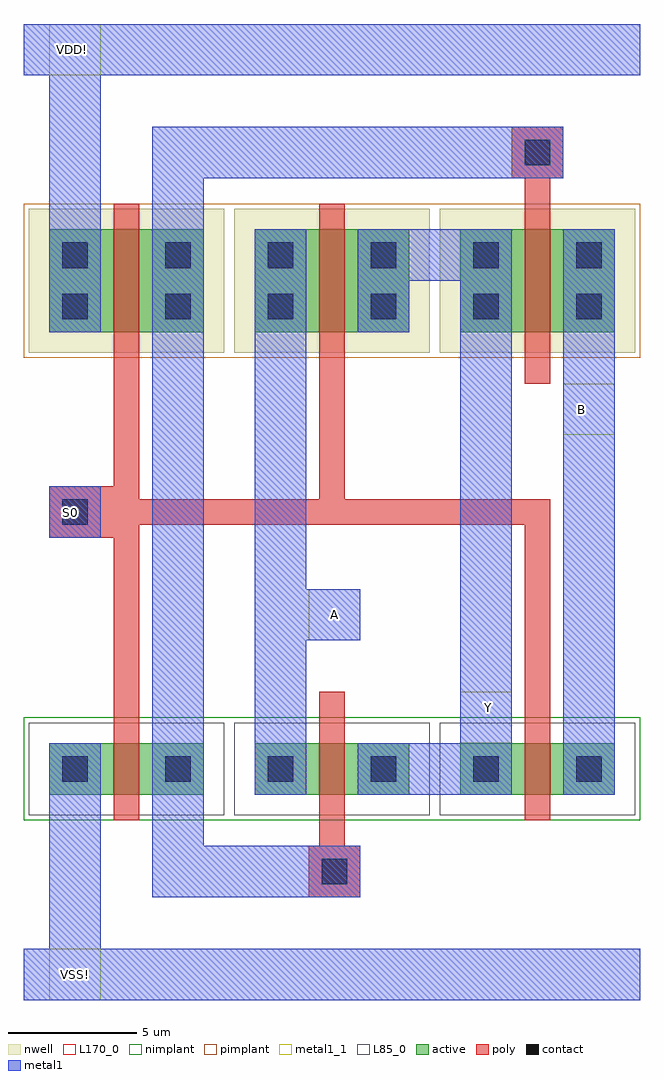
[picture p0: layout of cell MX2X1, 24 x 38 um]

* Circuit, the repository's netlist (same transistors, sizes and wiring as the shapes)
* +++++++++++++++++++++++++++++++++++++++++++++++++++++++++ *
* CDL Netlist:                                              *
*                                                           *
* Cell Name  : MX2X1                                        *
* Netlisted  : Mon Dec 20 07:11:54 2021                     *
* PVS Version: 16.15-s010 Fri Jun 28 22:24:07 PDT 2019      *
* +++++++++++++++++++++++++++++++++++++++++++++++++++++++++ *
*.LDD
*.DEVTMPLT 0 MN(nmos3) _nmos1v _soi_nd(D) poly_conn(G) _soi_nsb(S) _soi_nsb(B)
*.DEVTMPLT 1 MP(pmos3) _pmos1v _soi_pd(D) poly_conn(G) _soi_psb(S) _soi_psb(B)

* +++++++++++++++++++++++++++++++++++++++++++++++++++++++++ *
* Sub cell: nmos3_CDNS_2                                    *
* +++++++++++++++++++++++++++++++++++++++++++++++++++++++++ *
.subckt nmos3_CDNS_2 2 3 4
** N=4 EP=3 FDC=1
M0 3 4 2 2 nmos3 L=1e-06 W=2e-06 AD=5e-12 AS=0 PD=9e-06 PS=0 fw=2e-06 sa=2e-06 sb=2e-06 $X=7000 $Y=2000 $dt=0
.ends nmos3_CDNS_2

* +++++++++++++++++++++++++++++++++++++++++++++++++++++++++ *
* Sub cell: pmos3_CDNS_3                                    *
* +++++++++++++++++++++++++++++++++++++++++++++++++++++++++ *
.subckt pmos3_CDNS_3 2 3 4
** N=5 EP=3 FDC=1
M0 3 4 2 2 pmos3 L=1e-06 W=4e-06 AD=1e-11 AS=0 PD=1.3e-05 PS=0 fw=4e-06 sa=2e-06 sb=2e-06 $X=7000 $Y=2000 $dt=1
.ends pmos3_CDNS_3

* +++++++++++++++++++++++++++++++++++++++++++++++++++++++++ *
* Sub cell: MX2X1                                           *
* +++++++++++++++++++++++++++++++++++++++++++++++++++++++++ *
.subckt MX2X1 A B S0 VDD! VSS! Y
** N=8 EP=6 FDC=6
X3 VSS! 2 S0 nmos3_CDNS_2 $T=16000 12000 1 180 $X=0 $Y=12000
X4 A Y 2 nmos3_CDNS_2 $T=32000 12000 1 180 $X=16000 $Y=12000
X5 B Y S0 nmos3_CDNS_2 $T=32000 12000 0 0 $X=32000 $Y=12000
X6 VDD! 2 S0 pmos3_CDNS_3 $T=16000 60000 0 180 $X=0 $Y=46000
X7 A Y S0 pmos3_CDNS_3 $T=32000 60000 0 180 $X=16000 $Y=46000
X8 B Y 2 pmos3_CDNS_3 $T=32000 60000 1 0 $X=32000 $Y=46000
.ends MX2X1

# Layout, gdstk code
from math import pi, radians
import gdstk
lib = gdstk.Library(unit=1e-6, precision=5e-10)
def R(c, l, rs):  # rectangles x0, y0, x1, y1
    for r in rs: c.add(gdstk.rectangle(r[:2], r[2:], *l))
def A(c, l, x, y, w, h, nx, ny, dx, dy):  # array of equal rectangles
    R(c, l, [(x+i*dx, y+j*dy, x+i*dx+w, y+j*dy+h) for i in range(nx) for j in range(ny)])
active = (1, 0)
nwell = (2, 0)
poly = (3, 0)
nimplant = (4, 0)
pimplant = (5, 0)
contact = (6, 0)
metal1 = (7, 0)
metal1_1 = (7, 1)
L85_0 = (85, 0)
L170_0 = (170, 0)

nmos3_cdns_2 = lib.new_cell('nmos3_CDNS_2')
R(nmos3_cdns_2, active, [(1,1,7,3)])
R(nmos3_cdns_2, poly, [(3.5,0,4.5,5), (3.6,3.5,4.4,3.9)])
R(nmos3_cdns_2, nimplant, [(0,0,8,4)])
R(nmos3_cdns_2, contact, [(1.5,1.5,2.5,2.5), (5.5,1.5,6.5,2.5), (5.5,1.5,6.5,2.5)])
R(nmos3_cdns_2, metal1, [(1,1,3,3), (5,1,7,3), (1.3,1.3,2.7,2.7), (5.3,1.3,6.7,2.7)])
R(nmos3_cdns_2, L85_0, [(0.2,0.2,7.8,3.8)])
R(nmos3_cdns_2, L170_0, [(4.5,1,7,3)])

pmos3_cdns_3 = lib.new_cell('pmos3_CDNS_3')
R(pmos3_cdns_3, active, [(1,1,7,5)])
R(pmos3_cdns_3, nwell, [(0.2,0.2,7.8,5.8)])
R(pmos3_cdns_3, poly, [(3.5,0,4.5,7), (3.6,5.6,4.4,5.9)])
R(pmos3_cdns_3, pimplant, [(0,0,8,6)])
R(pmos3_cdns_3, contact, [(1.5,1.5,2.5,2.5), (5.5,1.5,6.5,2.5), (5.5,1.5,6.5,2.5), (1.5,3.5,2.5,4.5), (5.5,3.5,6.5,4.5)])
R(pmos3_cdns_3, metal1, [(1,1,3,5), (5,1,7,5), (1.3,1.3,2.7,2.7), (5.3,1.3,6.7,2.7)])
R(pmos3_cdns_3, L170_0, [(4.5,1,7,5)])

m1_po_cdns_1 = lib.new_cell('M1_PO_CDNS_1')
R(m1_po_cdns_1, poly, [(-1,-1,1,1)])
R(m1_po_cdns_1, contact, [(-0.5,-0.5,0.5,0.5)])
R(m1_po_cdns_1, metal1, [(-1,-1,1,1)])

mx2x1 = lib.new_cell('MX2X1')
R(mx2x1, poly, [(2.7,17,3.7,19)])
R(mx2x1, metal1, [(9,13,13.1,15), (21,21,23,23)])
A(mx2x1, metal1_1, 1, -1, 2, 2, 1, 3, 0, 18)
R(mx2x1, metal1_1, [(17,9,19,11), (11.1,13,13.1,15), (21,21,23,23)])
mx2x1.add(gdstk.FlexPath([(4,18),(4,24.6)], 1, ends="extended", simple_path=True, layer=3, datatype=0))  # poly
mx2x1.add(gdstk.FlexPath([(20,32),(20,24.1)], 1, ends="flush", simple_path=True, layer=3, datatype=0))  # poly
mx2x1.add(gdstk.FlexPath([(12.1,4),(12,4)], 1, ends=(0, 0.5), simple_path=True, layer=3, datatype=0))  # poly
mx2x1.add(gdstk.FlexPath([(12,4),(12,9.9)], 1, ends=(0.5, 0), simple_path=True, layer=3, datatype=0))  # poly
mx2x1.add(gdstk.FlexPath([(1.9,18),(4,18)], 1, ends="extended", simple_path=True, layer=3, datatype=0))  # poly
mx2x1.add(gdstk.FlexPath([(12,24.4),(12,18)], 1, ends=(0, 0.5), simple_path=True, layer=3, datatype=0))  # poly
mx2x1.add(gdstk.FlexPath([(20,18),(20,9.9)], 1, ends=(0.5, 0), simple_path=True, layer=3, datatype=0))  # poly
mx2x1.add(gdstk.FlexPath([(12,18),(20,18)], 1, ends="extended", simple_path=True, layer=3, datatype=0))  # poly
mx2x1.add(gdstk.FlexPath([(4,9.5),(4,18)], 1, ends=(0, 0.5), simple_path=True, layer=3, datatype=0))  # poly
mx2x1.add(gdstk.FlexPath([(4,24.6),(3.6,24.6)], 1, ends=(0.5, 0), simple_path=True, layer=3, datatype=0))  # poly
mx2x1.add(gdstk.FlexPath([(4,18),(12,18)], 1, ends="extended", simple_path=True, layer=3, datatype=0))  # poly
mx2x1.add(gdstk.FlexPath([(18,28),(18.7,28)], 2, ends=(1, 0), simple_path=True, layer=7, datatype=0))  # metal1
mx2x1.add(gdstk.FlexPath([(18,28),(18,8)], 2, ends="extended", simple_path=True, layer=7, datatype=0))  # metal1
mx2x1.add(gdstk.FlexPath([(22,7.3),(22,28.7)], 2, ends="flush", simple_path=True, layer=7, datatype=0))  # metal1
mx2x1.add(gdstk.FlexPath([(13.3,28),(18,28)], 2, ends=(0, 1), simple_path=True, layer=7, datatype=0))  # metal1
mx2x1.add(gdstk.FlexPath([(13.3,8),(18,8)], 2, ends=(0, 1), simple_path=True, layer=7, datatype=0))  # metal1
mx2x1.add(gdstk.FlexPath([(18,8),(18,7.3)], 2, ends=(1, 0), simple_path=True, layer=7, datatype=0))  # metal1
mx2x1.add(gdstk.FlexPath([(18,8),(18.7,8)], 2, ends=(1, 0), simple_path=True, layer=7, datatype=0))  # metal1
mx2x1.add(gdstk.FlexPath([(6,32),(20,32)], 2, ends=(1, 0), simple_path=True, layer=7, datatype=0))  # metal1
mx2x1.add(gdstk.FlexPath([(6,27.3),(6,32)], 2, ends=(0, 1), simple_path=True, layer=7, datatype=0))  # metal1
mx2x1.add(gdstk.FlexPath([(6,4),(12.1,4)], 2, ends=(1, 0), simple_path=True, layer=7, datatype=0))  # metal1
mx2x1.add(gdstk.FlexPath([(6,8.7),(6,4)], 2, ends=(0, 1), simple_path=True, layer=7, datatype=0))  # metal1
mx2x1.add(gdstk.FlexPath([(18,28.7),(18,28)], 2, ends=(0, 1), simple_path=True, layer=7, datatype=0))  # metal1
mx2x1.add(gdstk.FlexPath([(10,28.7),(10,7.3)], 2, ends="flush", simple_path=True, layer=7, datatype=0))  # metal1
mx2x1.add(gdstk.FlexPath([(6,7.3),(6,28.7)], 2, ends="flush", simple_path=True, layer=7, datatype=0))  # metal1
mx2x1.add(gdstk.FlexPath([(2,0),(24,0)], 2, ends=(1, 0), simple_path=True, layer=7, datatype=0))  # metal1
mx2x1.add(gdstk.FlexPath([(2,27.3),(2,36)], 2, ends=(0, 1), simple_path=True, layer=7, datatype=0))  # metal1
mx2x1.add(gdstk.FlexPath([(2,36),(24,36)], 2, ends=(1, 0), simple_path=True, layer=7, datatype=0))  # metal1
mx2x1.add(gdstk.FlexPath([(2,8.7),(2,0)], 2, ends=(0, 1), simple_path=True, layer=7, datatype=0))  # metal1
mx2x1.add(gdstk.FlexPath([(0,0),(2,0)], 2, ends=(0, 1), simple_path=True, layer=7, datatype=0))  # metal1
mx2x1.add(gdstk.FlexPath([(0,36),(2,36)], 2, ends=(0, 1), simple_path=True, layer=7, datatype=0))  # metal1
mx2x1.add(gdstk.Reference(nmos3_cdns_2, (16,6)))
mx2x1.add(gdstk.Reference(nmos3_cdns_2, (16,6), rotation=pi, x_reflection=True))
mx2x1.add(gdstk.Reference(nmos3_cdns_2, (8,6), rotation=pi, x_reflection=True))
mx2x1.add(gdstk.Reference(pmos3_cdns_3, (16,30), x_reflection=True))
mx2x1.add(gdstk.Reference(pmos3_cdns_3, (16,30), rotation=pi))
mx2x1.add(gdstk.Reference(pmos3_cdns_3, (8,30), rotation=pi))
mx2x1.add(gdstk.Reference(m1_po_cdns_1, (2,18)))
mx2x1.add(gdstk.Reference(m1_po_cdns_1, (20,32)))
mx2x1.add(gdstk.Reference(m1_po_cdns_1, (12.1,4)))
mx2x1.add(gdstk.Label('VSS!', (2,0), layer=7, texttype=3))
mx2x1.add(gdstk.Label('B', (21.7,22), layer=7, texttype=3))
mx2x1.add(gdstk.Label('A', (12.1,14), layer=7, texttype=3))
mx2x1.add(gdstk.Label('S0', (1.8,18), layer=7, texttype=3))
mx2x1.add(gdstk.Label('VDD!', (1.9,36), layer=7, texttype=3))
mx2x1.add(gdstk.Label('Y', (18.1,10.4), layer=7, texttype=3))
mx2x1.add(gdstk.Label('VDD!', (2,36), layer=7, texttype=3))
mx2x1.add(gdstk.Label('VDD!', (2,36), layer=7, texttype=3))

lib.write_gds('MX2X1.gds')
